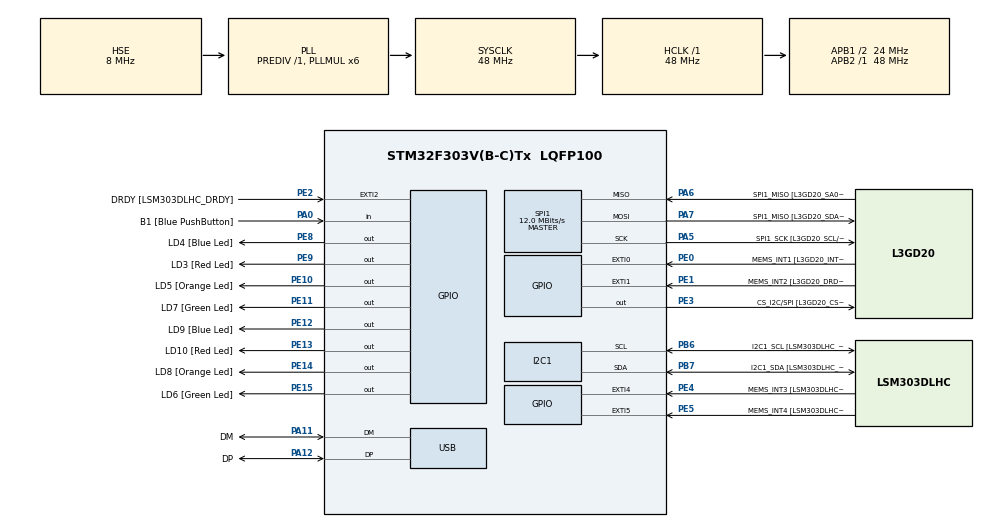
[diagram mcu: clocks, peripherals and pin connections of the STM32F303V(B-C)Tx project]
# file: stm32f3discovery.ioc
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I2C1.Timing=0x2000090E
I2C1.Timing-I2C=0x2000090E
Mcu.Family=STM32F3
Mcu.Name=STM32F303V(B-C)Tx
Mcu.Package=LQFP100
NVIC.PriorityGroup=NVIC_PRIORITYGROUP_0
PA0.GPIO_Label=B1 [Blue PushButton]
PA0.Signal=GPIO_Input
PA11.GPIO_Label=DM
PA11.Mode=Device
PA11.Signal=USB_DM
PA12.GPIO_Label=DP
PA12.Mode=Device
PA12.Signal=USB_DP
PA13.GPIO_Label=SWDIO
PA13.Mode=Serial_Wire
PA13.Signal=SYS_JTMS-SWDIO
PA14.GPIO_Label=SWCLK
PA14.Mode=Serial_Wire
PA14.Signal=SYS_JTCK-SWCLK
PA5.GPIO_Label=SPI1_SCK [L3GD20_SCL/SPC]
PA5.Mode=Full_Duplex_Master
PA5.Signal=SPI1_SCK
PA6.GPIO_Label=SPI1_MISO [L3GD20_SA0/SDO]
PA6.Mode=Full_Duplex_Master
PA6.Signal=SPI1_MISO
PA7.GPIO_Label=SPI1_MISO [L3GD20_SDA/SDI/SDO]
PA7.Mode=Full_Duplex_Master
PA7.Signal=SPI1_MOSI
PB3.GPIO_Label=SWO
PB3.Signal=SYS_JTDO-TRACESWO
PB6.GPIO_Label=I2C1_SCL [LSM303DLHC_SCL]
PB6.GPIO_Pu=GPIO_PULLUP
PB6.Mode=I2C
PB6.Signal=I2C1_SCL
PB7.GPIO_Label=I2C1_SDA [LSM303DLHC_SDA]
PB7.GPIO_Pu=GPIO_PULLUP
PB7.Mode=I2C
PB7.Signal=I2C1_SDA
PC14-OSC32_IN.GPIO_Label=OSC32_IN
PC14-OSC32_IN.Signal=RCC_OSC32_IN
PC15-OSC32_OUT.GPIO_Label=OSC32_OUT
PC15-OSC32_OUT.Signal=RCC_OSC32_OUT
PE0.GPIO_Label=MEMS_INT1 [L3GD20_INT1]
PE0.GPIO_ModeDefaultEXTI=GPIO_MODE_EVT_RISING
PE0.Signal=GPXTI0
PE1.GPIO_Label=MEMS_INT2 [L3GD20_DRDY/INT2]
PE1.GPIO_ModeDefaultEXTI=GPIO_MODE_EVT_RISING
PE1.Signal=GPXTI1
PE10.GPIO_Label=LD5 [Orange Led]
PE10.Signal=GPIO_Output
PE11.GPIO_Label=LD7 [Green Led]
PE11.Signal=GPIO_Output
PE12.GPIO_Label=LD9 [Blue Led]
PE12.Signal=GPIO_Output
PE13.GPIO_Label=LD10 [Red Led]
PE13.Signal=GPIO_Output
PE14.GPIO_Label=LD8 [Orange Led]
PE14.Signal=GPIO_Output
PE15.GPIO_Label=LD6 [Green Led]
PE15.Signal=GPIO_Output
PE2.GPIO_Label=DRDY [LSM303DLHC_DRDY]
PE2.GPIO_ModeDefaultEXTI=GPIO_MODE_EVT_RISING
PE2.Signal=GPXTI2
PE3.GPIO_Label=CS_I2C/SPI [L3GD20_CS_I2C/SPI]
PE3.Signal=GPIO_Output
PE4.GPIO_Label=MEMS_INT3 [LSM303DLHC_INT1]
PE4.GPIO_ModeDefaultEXTI=GPIO_MODE_EVT_RISING
PE4.Signal=GPXTI4
PE5.GPIO_Label=MEMS_INT4 [LSM303DLHC_INT2]
PE5.GPIO_ModeDefaultEXTI=GPIO_MODE_EVT_RISING
PE5.Signal=GPXTI5
PE8.GPIO_Label=LD4 [Blue Led]
PE8.Signal=GPIO_Output
PE9.GPIO_Label=LD3 [Red Led]
PE9.Signal=GPIO_Output
PF0-OSC_IN.GPIO_Label=OSC_IN
PF0-OSC_IN.Mode=HSE-External-Clock-Source
PF0-OSC_IN.Signal=RCC_OSC_IN
PF1-OSC_OUT.GPIO_Label=OSC_OUT
PF1-OSC_OUT.Signal=RCC_OSC_OUT
ProjectManager.HeapSize=0x200
ProjectManager.StackSize=0x400
ProjectManager.TargetToolchain=STM32CubeIDE
RCC.AHBFreq_Value=48000000
RCC.APB1CLKDivider=RCC_HCLK_DIV2
RCC.APB1Freq_Value=24000000
RCC.APB1TimFreq_Value=48000000
RCC.APB2Freq_Value=48000000
RCC.APB2TimFreq_Value=48000000
RCC.CortexFreq_Value=48000000
RCC.HCLKFreq_Value=48000000
RCC.HSE_VALUE=8000000
RCC.HSI_VALUE=8000000
RCC.LSE_VALUE=32768
RCC.PLLMUL=RCC_PLL_MUL6
RCC.SYSCLKFreq_VALUE=48000000
RCC.SYSCLKSourceVirtual=RCC_SYSCLKSOURCE_PLLCLK
RCC.USBFreq_Value=48000000
SPI1.BaudRatePrescaler=SPI_BAUDRATEPRESCALER_4
SPI1.BaudRatePrescaler-Full_Duplex_Master=SPI_BAUDRATEPRESCALER_2
SPI1.CalculateBaudRate=12.0 MBits/s
SPI1.CalculateBaudRate-Full_Duplex_Master=24.0 MBits/s
SPI1.Direction=SPI_DIRECTION_2LINES
SPI1.Mode=SPI_MODE_MASTER
SPI1.Mode-Full_Duplex_Master=SPI_MODE_MASTER
SPI1.VirtualType=VM_MASTER
board=STM32F3DISCOVERY

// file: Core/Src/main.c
/* USER CODE BEGIN Header */
/**
  ******************************************************************************
  * @file           : main.c
  * @brief          : Main program body
  ******************************************************************************
  * @attention
  *
  * Copyright (c) 2023 STMicroelectronics.
  * All rights reserved.
  *
  * This software is licensed under terms that can be found in the LICENSE file
  * in the root directory of this software component.
  * If no LICENSE file comes with this software, it is provided AS-IS.
  *
  ******************************************************************************
  */
/* USER CODE END Header */
#include "main.h"

/* USER CODE BEGIN PD */
#define LED_DELAY 100
/* USER CODE END PD */

I2C_HandleTypeDef hi2c1;

SPI_HandleTypeDef hspi1;

PCD_HandleTypeDef hpcd_USB_FS;

void SystemClock_Config(void);
static void MX_GPIO_Init(void);
static void MX_I2C1_Init(void);
static void MX_SPI1_Init(void);
static void MX_USB_PCD_Init(void);

int main(void)
{

  /* MCU Configuration--------------------------------------------------------*/

  /* Reset of all peripherals, Initializes the Flash interface and the Systick. */
  HAL_Init();

  /* Configure the system clock */
  SystemClock_Config();

  /* Initialize all configured peripherals */
  MX_GPIO_Init();
  MX_I2C1_Init();
  MX_SPI1_Init();
  MX_USB_PCD_Init();

  /* Infinite loop */
  /* USER CODE BEGIN WHILE */
  while (1)
  {
	  HAL_GPIO_WritePin(LD3_GPIO_Port, LD3_Pin, GPIO_PIN_SET);
	  HAL_GPIO_WritePin(LD9_GPIO_Port, LD9_Pin, GPIO_PIN_RESET);
	  HAL_Delay(LED_DELAY);
	  HAL_GPIO_WritePin(LD6_GPIO_Port, LD4_Pin, GPIO_PIN_SET);
	  HAL_GPIO_WritePin(LD7_GPIO_Port, LD7_Pin, GPIO_PIN_RESET);
	  HAL_Delay(LED_DELAY);
	  HAL_GPIO_WritePin(LD4_GPIO_Port, LD6_Pin, GPIO_PIN_SET);
	  HAL_GPIO_WritePin(LD5_GPIO_Port, LD5_Pin, GPIO_PIN_RESET);
	  HAL_Delay(LED_DELAY);
	  HAL_GPIO_WritePin(LD4_GPIO_Port, LD4_Pin, GPIO_PIN_SET);
	  HAL_GPIO_WritePin(LD3_GPIO_Port, LD3_Pin, GPIO_PIN_RESET);
	  HAL_Delay(LED_DELAY);
	  HAL_GPIO_WritePin(LD8_GPIO_Port, LD8_Pin, GPIO_PIN_SET);
	  HAL_GPIO_WritePin(LD6_GPIO_Port, LD4_Pin, GPIO_PIN_RESET);
	  HAL_Delay(LED_DELAY);
	  HAL_GPIO_WritePin(LD10_GPIO_Port, LD10_Pin, GPIO_PIN_SET);
	  HAL_GPIO_WritePin(LD4_GPIO_Port, LD6_Pin, GPIO_PIN_RESET);
	  HAL_Delay(LED_DELAY);
	  HAL_GPIO_WritePin(LD9_GPIO_Port, LD9_Pin, GPIO_PIN_SET);
	  HAL_GPIO_WritePin(LD4_GPIO_Port, LD4_Pin, GPIO_PIN_RESET);
	  HAL_Delay(LED_DELAY);
	  HAL_GPIO_WritePin(LD7_GPIO_Port, LD7_Pin, GPIO_PIN_SET);
	  HAL_GPIO_WritePin(LD8_GPIO_Port, LD8_Pin, GPIO_PIN_RESET);
	  HAL_Delay(LED_DELAY);
	  HAL_GPIO_WritePin(LD5_GPIO_Port, LD5_Pin, GPIO_PIN_SET);
	  HAL_GPIO_WritePin(LD10_GPIO_Port, LD10_Pin, GPIO_PIN_RESET);
	  HAL_Delay(LED_DELAY);
    /* USER CODE END WHILE */

  }
}

void SystemClock_Config(void)
{
  RCC_OscInitTypeDef RCC_OscInitStruct = {0};
  RCC_ClkInitTypeDef RCC_ClkInitStruct = {0};
  RCC_PeriphCLKInitTypeDef PeriphClkInit = {0};

  /** Initializes the RCC Oscillators according to the specified parameters
  * in the RCC_OscInitTypeDef structure.
  */
  RCC_OscInitStruct.OscillatorType = RCC_OSCILLATORTYPE_HSI|RCC_OSCILLATORTYPE_HSE;
  RCC_OscInitStruct.HSEState = RCC_HSE_BYPASS;
  RCC_OscInitStruct.HSEPredivValue = RCC_HSE_PREDIV_DIV1;
  RCC_OscInitStruct.HSIState = RCC_HSI_ON;
  RCC_OscInitStruct.HSICalibrationValue = RCC_HSICALIBRATION_DEFAULT;
  RCC_OscInitStruct.PLL.PLLState = RCC_PLL_ON;
  RCC_OscInitStruct.PLL.PLLSource = RCC_PLLSOURCE_HSE;
  RCC_OscInitStruct.PLL.PLLMUL = RCC_PLL_MUL6;
  if (HAL_RCC_OscConfig(&RCC_OscInitStruct) != HAL_OK)
  {
    Error_Handler();
  }

  /** Initializes the CPU, AHB and APB buses clocks
  */
  RCC_ClkInitStruct.ClockType = RCC_CLOCKTYPE_HCLK|RCC_CLOCKTYPE_SYSCLK
                              |RCC_CLOCKTYPE_PCLK1|RCC_CLOCKTYPE_PCLK2;
  RCC_ClkInitStruct.SYSCLKSource = RCC_SYSCLKSOURCE_PLLCLK;
  RCC_ClkInitStruct.AHBCLKDivider = RCC_SYSCLK_DIV1;
  RCC_ClkInitStruct.APB1CLKDivider = RCC_HCLK_DIV2;
  RCC_ClkInitStruct.APB2CLKDivider = RCC_HCLK_DIV1;

  if (HAL_RCC_ClockConfig(&RCC_ClkInitStruct, FLASH_LATENCY_1) != HAL_OK)
  {
    Error_Handler();
  }
  PeriphClkInit.PeriphClockSelection = RCC_PERIPHCLK_USB|RCC_PERIPHCLK_I2C1;
  PeriphClkInit.I2c1ClockSelection = RCC_I2C1CLKSOURCE_HSI;
  PeriphClkInit.USBClockSelection = RCC_USBCLKSOURCE_PLL;
  if (HAL_RCCEx_PeriphCLKConfig(&PeriphClkInit) != HAL_OK)
  {
    Error_Handler();
  }
}

static void MX_I2C1_Init(void)
{

  hi2c1.Instance = I2C1;
  hi2c1.Init.Timing = 0x2000090E;
  hi2c1.Init.OwnAddress1 = 0;
  hi2c1.Init.AddressingMode = I2C_ADDRESSINGMODE_7BIT;
  hi2c1.Init.DualAddressMode = I2C_DUALADDRESS_DISABLE;
  hi2c1.Init.OwnAddress2 = 0;
  hi2c1.Init.OwnAddress2Masks = I2C_OA2_NOMASK;
  hi2c1.Init.GeneralCallMode = I2C_GENERALCALL_DISABLE;
  hi2c1.Init.NoStretchMode = I2C_NOSTRETCH_DISABLE;
  if (HAL_I2C_Init(&hi2c1) != HAL_OK)
  {
    Error_Handler();
  }

  /** Configure Analogue filter
  */
  if (HAL_I2CEx_ConfigAnalogFilter(&hi2c1, I2C_ANALOGFILTER_ENABLE) != HAL_OK)
  {
    Error_Handler();
  }

  /** Configure Digital filter
  */
  if (HAL_I2CEx_ConfigDigitalFilter(&hi2c1, 0) != HAL_OK)
  {
    Error_Handler();
  }

}

static void MX_SPI1_Init(void)
{

  /* SPI1 parameter configuration*/
  hspi1.Instance = SPI1;
  hspi1.Init.Mode = SPI_MODE_MASTER;
  hspi1.Init.Direction = SPI_DIRECTION_2LINES;
  hspi1.Init.DataSize = SPI_DATASIZE_4BIT;
  hspi1.Init.CLKPolarity = SPI_POLARITY_LOW;
  hspi1.Init.CLKPhase = SPI_PHASE_1EDGE;
  hspi1.Init.NSS = SPI_NSS_SOFT;
  hspi1.Init.BaudRatePrescaler = SPI_BAUDRATEPRESCALER_4;
  hspi1.Init.FirstBit = SPI_FIRSTBIT_MSB;
  hspi1.Init.TIMode = SPI_TIMODE_DISABLE;
  hspi1.Init.CRCCalculation = SPI_CRCCALCULATION_DISABLE;
  hspi1.Init.CRCPolynomial = 7;
  hspi1.Init.CRCLength = SPI_CRC_LENGTH_DATASIZE;
  hspi1.Init.NSSPMode = SPI_NSS_PULSE_ENABLE;
  if (HAL_SPI_Init(&hspi1) != HAL_OK)
  {
    Error_Handler();
  }

}

static void MX_USB_PCD_Init(void)
{

  hpcd_USB_FS.Instance = USB;
  hpcd_USB_FS.Init.dev_endpoints = 8;
  hpcd_USB_FS.Init.speed = PCD_SPEED_FULL;
  hpcd_USB_FS.Init.phy_itface = PCD_PHY_EMBEDDED;
  hpcd_USB_FS.Init.low_power_enable = DISABLE;
  hpcd_USB_FS.Init.battery_charging_enable = DISABLE;
  if (HAL_PCD_Init(&hpcd_USB_FS) != HAL_OK)
  {
    Error_Handler();
  }

}

static void MX_GPIO_Init(void)
{
  GPIO_InitTypeDef GPIO_InitStruct = {0};

  /* GPIO Ports Clock Enable */
  __HAL_RCC_GPIOE_CLK_ENABLE();
  __HAL_RCC_GPIOC_CLK_ENABLE();
  __HAL_RCC_GPIOF_CLK_ENABLE();
  __HAL_RCC_GPIOA_CLK_ENABLE();
  __HAL_RCC_GPIOB_CLK_ENABLE();

  /*Configure GPIO pin Output Level */
  HAL_GPIO_WritePin(GPIOE, CS_I2C_SPI_Pin|LD4_Pin|LD3_Pin|LD5_Pin
                          |LD7_Pin|LD9_Pin|LD10_Pin|LD8_Pin
                          |LD6_Pin, GPIO_PIN_RESET);

  /*Configure GPIO pins : DRDY_Pin MEMS_INT3_Pin MEMS_INT4_Pin MEMS_INT1_Pin
                           MEMS_INT2_Pin */
  GPIO_InitStruct.Pin = DRDY_Pin|MEMS_INT3_Pin|MEMS_INT4_Pin|MEMS_INT1_Pin
                          |MEMS_INT2_Pin;
  GPIO_InitStruct.Mode = GPIO_MODE_EVT_RISING;
  GPIO_InitStruct.Pull = GPIO_NOPULL;
  HAL_GPIO_Init(GPIOE, &GPIO_InitStruct);

  /*Configure GPIO pins : CS_I2C_SPI_Pin LD4_Pin LD3_Pin LD5_Pin
                           LD7_Pin LD9_Pin LD10_Pin LD8_Pin
                           LD6_Pin */
  GPIO_InitStruct.Pin = CS_I2C_SPI_Pin|LD4_Pin|LD3_Pin|LD5_Pin
                          |LD7_Pin|LD9_Pin|LD10_Pin|LD8_Pin
                          |LD6_Pin;
  GPIO_InitStruct.Mode = GPIO_MODE_OUTPUT_PP;
  GPIO_InitStruct.Pull = GPIO_NOPULL;
  GPIO_InitStruct.Speed = GPIO_SPEED_FREQ_LOW;
  HAL_GPIO_Init(GPIOE, &GPIO_InitStruct);

  /*Configure GPIO pin : B1_Pin */
  GPIO_InitStruct.Pin = B1_Pin;
  GPIO_InitStruct.Mode = GPIO_MODE_INPUT;
  GPIO_InitStruct.Pull = GPIO_NOPULL;
  HAL_GPIO_Init(B1_GPIO_Port, &GPIO_InitStruct);

}

void Error_Handler(void)
{
  __disable_irq();
  while (1)
  {
  }
}
